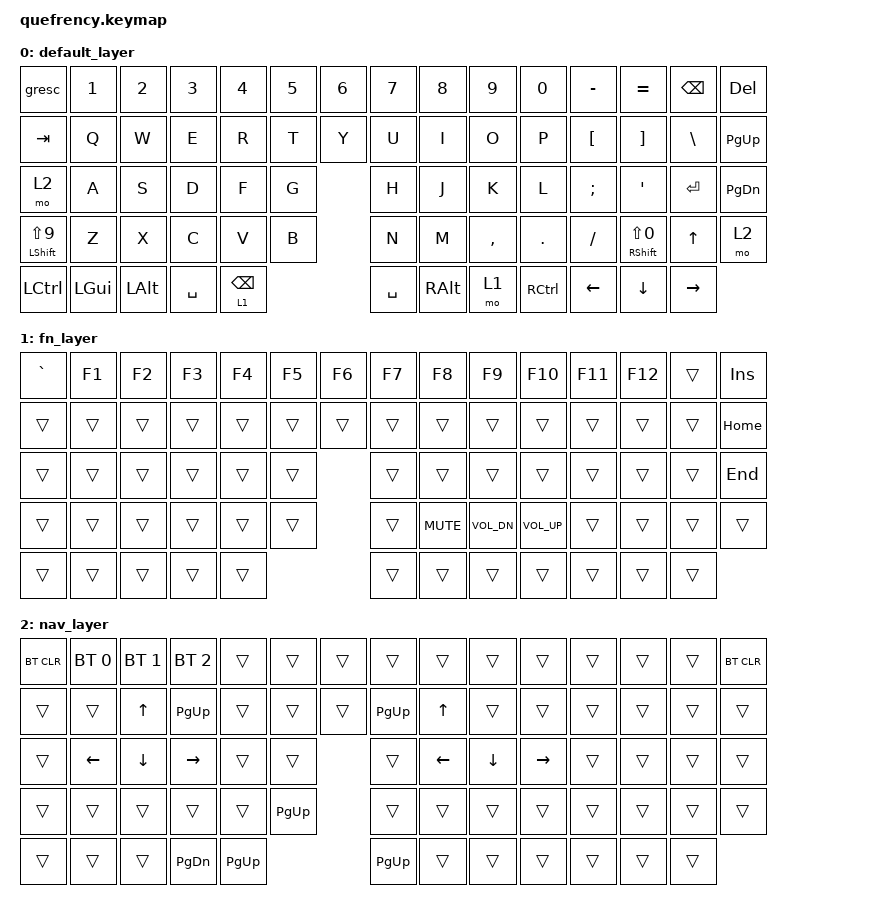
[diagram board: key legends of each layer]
/*
 * Copyright (c) 2020 The ZMK Contributors
 *
 * SPDX-License-Identifier: MIT
 */

#include <behaviors.dtsi>
#include <dt-bindings/zmk/bt.h>
#include <dt-bindings/zmk/keys.h>

&mt {
    tapping_term_ms = <150>;
};
  
/ {
    keymap {
        compatible = "zmk,keymap";
 
// ----------------------------------------------      -----------------------------------------------------
// | GRESC|  1   |  2  |  3   |  4  |  5  |  6  |      |  7  |  8  |  9  |  0  |  -  |  =  |  BKSPC | DEL  |
// | TAB   |  Q   |  W  |  E   |  R  |  T  |        |  Y  |  U  |  I  |  O  |  P  |  [  |  ]  |  \  | PGUP |
// | LCTRL  |  A   |  S  |  D   |  F  |  G  |        |  H  |  J  |  K  |  L  |  ;  |  '  |   ENTER  | PGUP |
// | SHIFT   |  Z   |  X  |  C  |  V   |  B  |        |  N  |  M  |  ,  |  .  |  /  |  RSHFT  |  UP | FN 2 |
// | LCTRL   | LGUI | LALT |   SPACE   | FN  |        |    SPACE    | RALT | FN | RCTRL | LFT | DWN | RGHT |
// -------------------------------------------        ------------------------------------------------------

        default_layer {
            bindings = <
    &gresc           &kp N1   &kp N2   &kp N3    &kp N4 &kp N5 &kp N6 /**/ &kp N7    &kp N8   &kp N9    &kp N0    &kp MINUS &kp EQUAL        &kp BSPC &kp DEL
    &kp TAB          &kp Q    &kp W    &kp E     &kp R  &kp T         /**/ &kp Y     &kp U    &kp I     &kp O     &kp P     &kp LBKT         &kp RBKT &kp BSLH &kp PG_UP
    &mo 2            &kp A    &kp S    &kp D     &kp F  &kp G         /**/ &kp H     &kp J    &kp K     &kp L     &kp SEMI  &kp SQT          &kp RET  &kp PG_DN
    &mt LSHFT LS(N9) &kp Z    &kp X    &kp C     &kp V  &kp B         /**/ &kp N     &kp M    &kp COMMA &kp DOT   &kp FSLH  &mt RSHFT LS(N0) &kp UP   &mo 2
    &kp LCTRL        &kp LGUI &kp LALT &kp SPACE &lt 1 BSPC           /**/ &kp SPACE &kp RALT &mo 1     &kp RCTRL &kp LEFT  &kp DOWN         &kp RIGHT
            >;
        };

// ----------------------------------------------     -----------------------------------------------------
// |GRAVE|  F1  |  F2 |  F3  |  F4 |  F5 |  F6 |     |  F7 |  F8 |  F9 | F10 | F11 | F12 |        | INS  |
// |       |     |     |      |     |     |       |     |     |     |     |     |     |     |     | HOME |
// |        |      |     |      |     |     |       |     |     |     |     |     |     |          | END  |
// |         |      |     |     |      |     |       |     | MUTE|VOLUP|VOLDN|     |         |     |      |
// |         |      |      |           |     |       |             |      |    |       |     |     |      |
// -------------------------------------------       ------------------------------------------------------

        fn_layer {
            bindings = <
    &kp GRAVE  &kp F1       &kp F2       &kp F3       &kp F4 &kp F5 &kp F6 /**/ &kp F7 &kp F8     &kp F9       &kp F10       &kp F11 &kp F12 &trans &kp INS
    &trans     &trans       &trans       &trans       &trans &trans        /**/ &trans &trans     &trans       &trans        &trans  &trans  &trans &trans &kp HOME
    &trans     &trans       &trans       &trans       &trans &trans        /**/ &trans &trans     &trans       &trans        &trans  &trans  &trans &kp END
    &trans     &trans       &trans       &trans       &trans &trans        /**/ &trans &kp C_MUTE &kp C_VOL_DN &kp C_VOL_UP  &trans  &trans  &trans &trans
    &trans     &trans       &trans       &trans       &trans               /**/ &trans &trans     &trans       &trans        &trans  &trans  &trans
            >;
        };
        nav_layer {
            bindings = <
    &bt BT_CLR &bt BT_SEL 0 &bt BT_SEL 1 &bt BT_SEL 2 &trans &trans &trans /**/ &trans    &trans    &trans   &trans    &trans  &trans  &trans &bt BT_CLR
    &trans     &trans       &kp UP       &kp PG_UP    &trans &trans        /**/ &trans    &kp PG_UP &kp UP   &trans    &trans  &trans  &trans &trans &trans
    &trans     &kp LEFT     &kp DOWN     &kp RIGHT    &trans &trans        /**/ &trans    &kp LEFT  &kp DOWN &kp RIGHT &trans  &trans  &trans &trans
    &trans     &trans       &trans       &trans       &trans &kp PG_UP     /**/ &trans    &trans    &trans   &trans    &trans  &trans  &trans &trans
    &trans     &trans       &trans       &kp PG_DN    &kp PG_UP            /**/ &kp PG_UP &trans    &trans   &trans    &trans  &trans  &trans
            >;
        };
    };
};
